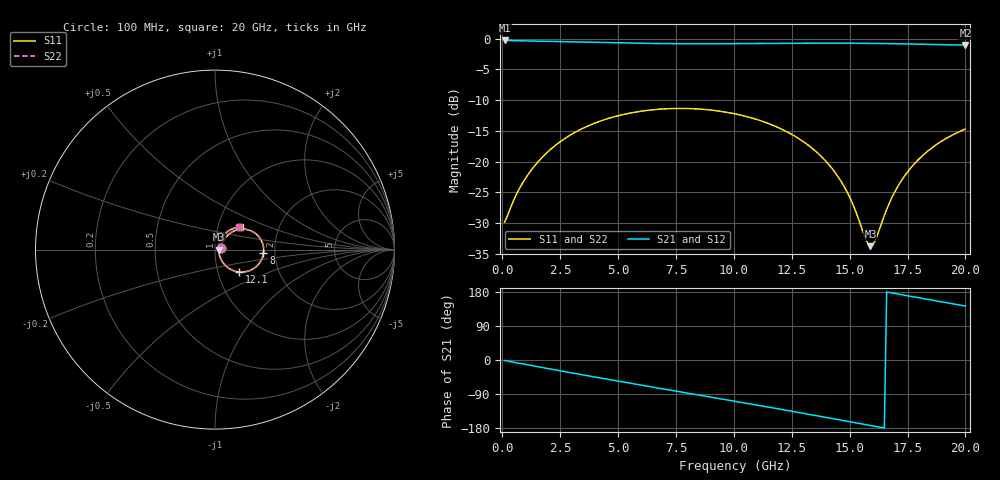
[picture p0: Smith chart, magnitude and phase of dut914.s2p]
! Touchstone file exported from HFSS 2026.1.0
!  File:  C:/ffzhzh/LocalFiles/Ansys_Project_Files/temp_train_TSV_RDL_914_1783278287_30076.aedt
!  Generated:  03:13:48 AM Jul  6, 2026
!  Design:  TSV_RDL
!  Project:  temp_train_TSV_RDL_914_1783278287_30076
! Variables:
!  h_bsmrdl = 4.47um
!  h_ox = 20um
!  h_rdl = 5um
!  h_sub = 73.78um
!  h_tmrdl = 2.94um
!  h_tsv = 73.78um
!  h_via = 3um
!  l_bsmrdl = 214.14um
!  l_sub = 3683.54um
!  l_tmrdl = 640.96um
!  m_sub = 200um
!  pitch = 19.63um
!  r_tsv = 3.79um
!  s_tmrdl = 10um
!  w_bsmrdl = 12.71um
!  w_sub = 500um
!  w_tmrdl = 13.05um
!  x_tsv_center1 = 647.485um
!  x_tsv_center2 = 874.335um
!  x_tsv_center3 = 1528.345um
!  x_tsv_center4 = 1755.195um
!  x_tsv_center5 = 2409.205um
!  x_tsv_center6 = 2636.055um
# GHz S MA R 50.000000
! Terminal data exported
! Port[1] = TM_RDL1_1_T1
! Port[2] = TM_RDL5_1_T1
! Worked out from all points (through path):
!   200 points, 100 MHz to 20 GHz, reference 50 ohm
!   highest |S21| = -0.28 dB at 100 MHz (marker M1); lowest = -1.0 dB at 20 GHz (marker M2)
!   group delay of S21, straight-line fit = 30 ps
!   lowest |S11| = -33.7 dB at 15.9 GHz (marker M3), VSWR 1.04, Z = 52.1 - j0.0457 ohm
!   |S11| at or under -10 dB: start of sweep to end of sweep
!   |S22| runs from -33.9 to -11.3 dB; largest |S21 - S12| = 2.4e-14
!   S11 on the Smith chart (normalised r, x): 100 MHz: 1.07, +0.01; 8 GHz: 1.74, -0.08; 12.1 GHz: 1.26, -0.33; 20 GHz: 1.27, +0.33
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0.1  0.03229 12.4  0.9686 -1.2  0.9686 -1.2  0.03229 12.4
! Gamma 0 0 0 0
! Port Impedance 50 0 50 0
0.7  0.05859 42.8  0.9618 -8.3  0.9618 -8.3  0.05859 42.8
1.4  0.0928 48.4  0.9562 -16.2  0.9562 -16.2  0.0928 48.4
2.3  0.1361 46.0  0.9493 -26.3  0.9493 -26.3  0.1361 46.0
3.5  0.1878 37.5  0.9385 -39.5  0.9385 -39.5  0.1878 37.5
5.1  0.239 23.2  0.9246 -56.8  0.9246 -56.8  0.239 23.2
6.8  0.2675 7.2  0.9141 -74.7  0.9141 -74.7  0.2675 7.2
8  0.2708 -4.3  0.9108 -87.3  0.9108 -87.3  0.2708 -4.3
10.1  0.244 -24.4  0.9122 -109.4  0.9122 -109.4  0.244 -24.5
12.1  0.1827 -43.1  0.9179 -130.9  0.9179 -130.9  0.1827 -43.2
13.4  0.1278 -53.8  0.9207 -145.1  0.9207 -145.1  0.1278 -53.9
14.1  0.09494 -57.9  0.921 -152.9  0.921 -152.9  0.09489 -58.1
14.7  0.06591 -58.5  0.9205 -159.5  0.9205 -159.5  0.06583 -58.8
15.2  0.04229 -52.9  0.9195 -165.1  0.9195 -165.1  0.04215 -53.3
15.7  0.02334 -25.5  0.9179 -170.6  0.9179 -170.6  0.02304 -26.0
15.9  0.02057 -1.2  0.9171 -172.9  0.9171 -172.9  0.02022 -1.3
16.1  0.02272 23.8  0.9162 -175.1  0.9162 -175.1  0.02239 24.1
16.7  0.04531 55.3  0.9129 178.3  0.9129 178.3  0.04513 55.7
17.3  0.07319 59.7  0.909 171.7  0.909 171.7  0.07306 60.0
18  0.1054 57.6  0.9038 164.0  0.9038 164.0  0.1053 57.7
18.9  0.144 51.4  0.8963 154.2  0.8963 154.2  0.1439 51.5
20  0.1845 42.2  0.8871 142.5  0.8871 142.5  0.1844 42.3
